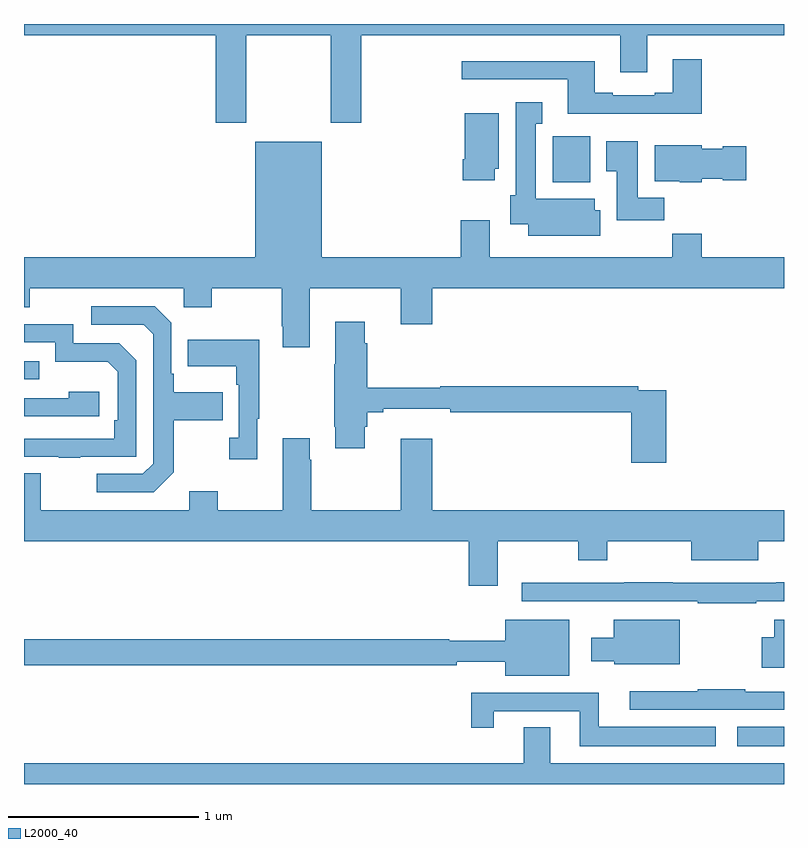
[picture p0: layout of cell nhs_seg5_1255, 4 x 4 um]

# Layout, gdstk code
import gdstk
lib = gdstk.Library(unit=1e-6, precision=1e-09)
def R(c, l, rs):  # rectangles x0, y0, x1, y1
    for r in rs: c.add(gdstk.rectangle(r[:2], r[2:], *l))
def P(c, l, *ps):  # polygons
    for p in ps: c.add(gdstk.Polygon(p, *l))
L2000_40 = (2000, 40)

nhs_seg5_1255 = lib.new_cell('nhs_seg5_1255')
R(nhs_seg5_1255, L2000_40, [(190.755,872.999,191,873.1), (187,874.929,187.079,875.025), (189.782,875.966,189.979,876.208)])
P(nhs_seg5_1255, L2000_40, [(188.169,876.74),(188.614,876.74),(188.614,876.279),(188.774,876.279),(188.774,876.74),(190.139,876.74),(190.139,876.546),(190.279,876.546),(190.279,876.74),(191,876.74),(191,876.799),(187,876.799),(187,876.74),(188.009,876.74),(188.009,876.279),(188.169,876.279)],
  [(190.568,876.613),(190.415,876.613),(190.415,876.436),(190.319,876.436),(190.319,876.423),(190.099,876.423),(190.099,876.436),(190.003,876.436),(190.003,876.604),(189.303,876.604),(189.303,876.507),(189.863,876.507),(189.863,876.326),(190.568,876.326)],
  [(190.033,875.819),(190.003,875.819),(190.003,875.878),(189.694,875.878),(189.694,876.275),(189.727,876.275),(189.727,876.388),(189.587,876.388),(189.587,875.898),(189.56,875.898),(189.56,875.744),(189.653,875.744),(189.653,875.684),(190.033,875.684)],
  [(189.478,876.036),(189.499,876.036),(189.499,876.328),(189.32,876.328),(189.32,876.088),(189.308,876.088),(189.308,875.976),(189.478,875.976)],
  [(190.37,875.884),(190.231,875.884),(190.231,876.181),(190.064,876.181),(190.064,876.025),(190.121,876.025),(190.121,875.766),(190.37,875.766)],
  [(188.503,875.408),(188.984,875.408),(188.984,875.22),(189.148,875.22),(189.148,875.408),(191,875.408),(191,875.572),(190.568,875.572),(190.568,875.696),(190.411,875.696),(190.411,875.572),(189.451,875.572),(189.451,875.767),(189.299,875.767),(189.299,875.572),(188.566,875.572),(188.566,876.178),(188.216,876.178),(188.216,875.572),(187,875.572),(187,875.309),(187.029,875.309),(187.029,875.408),(187.842,875.408),(187.842,875.309),(187.989,875.309),(187.989,875.408),(188.356,875.408),(188.356,875.209),(188.363,875.209),(188.363,875.097),(188.503,875.097)],
  [(190.566,875.984),(190.677,875.984),(190.677,875.977),(190.801,875.977),(190.801,876.155),(190.677,876.155),(190.677,876.142),(190.566,876.142),(190.566,876.16),(190.319,876.16),(190.319,875.972),(190.452,875.972),(190.452,875.966),(190.566,875.966)],
  [(187.789,874.441),(187.789,874.714),(188.045,874.714),(188.045,874.861),(187.789,874.861),(187.789,874.957),(187.776,874.957),(187.776,875.226),(187.689,875.313),(187.353,875.313),(187.353,875.217),(187.629,875.217),(187.68,875.166),(187.68,874.485),(187.626,874.431),(187.383,874.431),(187.383,874.335),(187.683,874.335)],
  [(190.379,874.872),(190.232,874.872),(190.232,874.892),(189.19,874.892),(189.19,874.885),(188.807,874.885),(188.807,875.12),(188.794,875.12),(188.794,875.233),(188.639,875.233),(188.639,875.009),(188.632,875.009),(188.632,874.678),(188.639,874.678),(188.639,874.566),(188.794,874.566),(188.794,874.679),(188.807,874.679),(188.807,874.756),(188.89,874.756),(188.89,874.775),(189.244,874.775),(189.244,874.756),(190.196,874.756),(190.196,874.491),(190.379,874.491)],
  [(187.295,874.521),(187.59,874.521),(187.59,875.028),(187.5,875.118),(187.26,875.118),(187.26,875.22),(187,875.22),(187,875.124),(187.164,875.124),(187.164,875.021),(187.441,875.021),(187.494,874.968),(187.494,874.714),(187.474,874.714),(187.474,874.617),(187,874.617),(187,874.521),(187.183,874.521),(187.183,874.516),(187.295,874.516)],
  [(188.227,874.721),(188.239,874.721),(188.239,875.137),(187.861,875.137),(187.861,874.997),(188.118,874.997),(188.118,874.901),(188.13,874.901),(188.13,874.622),(188.079,874.622),(188.079,874.509),(188.227,874.509)],
  [(187.396,874.864),(187.235,874.864),(187.235,874.83),(187,874.83),(187,874.734),(187.396,874.734)],
  [(187,874.435),(187,874.076),(189.341,874.076),(189.341,873.843),(189.493,873.843),(189.493,874.076),(189.916,874.076),(189.916,873.977),(190.071,873.977),(190.071,874.076),(190.511,874.076),(190.511,873.977),(190.864,873.977),(190.864,874.076),(191,874.076),(191,874.24),(189.148,874.24),(189.148,874.615),(188.984,874.615),(188.984,874.24),(188.511,874.24),(188.511,874.505),(188.503,874.505),(188.503,874.618),(188.363,874.618),(188.363,874.24),(188.019,874.24),(188.019,874.339),(187.871,874.339),(187.871,874.24),(187.087,874.24),(187.087,874.435)],
  [(190.853,873.762),(191,873.762),(191,873.86),(190.96,873.86),(190.96,873.858),(190.415,873.858),(190.415,873.86),(190.159,873.86),(190.159,873.858),(189.621,873.858),(189.621,873.762),(190.546,873.762),(190.546,873.75),(190.853,873.75)],
  [(190.45,873.664),(190.103,873.664),(190.103,873.568),(189.986,873.568),(189.986,873.446),(190.107,873.446),(190.107,873.428),(190.45,873.428)],
  [(191,873.664),(190.949,873.664),(190.949,873.571),(190.884,873.571),(190.884,873.41),(191,873.41)],
  [(189.871,873.664),(189.533,873.664),(189.533,873.553),(189.237,873.553),(189.237,873.56),(187,873.56),(187,873.424),(189.278,873.424),(189.278,873.443),(189.533,873.443),(189.533,873.368),(189.871,873.368)],
  [(191,873.285),(190.796,873.285),(190.796,873.298),(190.546,873.298),(190.546,873.286),(190.188,873.286),(190.188,873.189),(191,873.189)],
  [(190.642,873.1),(190.024,873.1),(190.024,873.279),(189.355,873.279),(189.355,873.096),(189.472,873.096),(189.472,873.183),(189.926,873.183),(189.926,872.999),(190.642,872.999)],
  [(191,872.908),(189.769,872.908),(189.769,873.098),(189.629,873.098),(189.629,872.908),(187,872.908),(187,872.799),(191,872.799)])

lib.write_gds('nhs_seg5_1255.gds')
